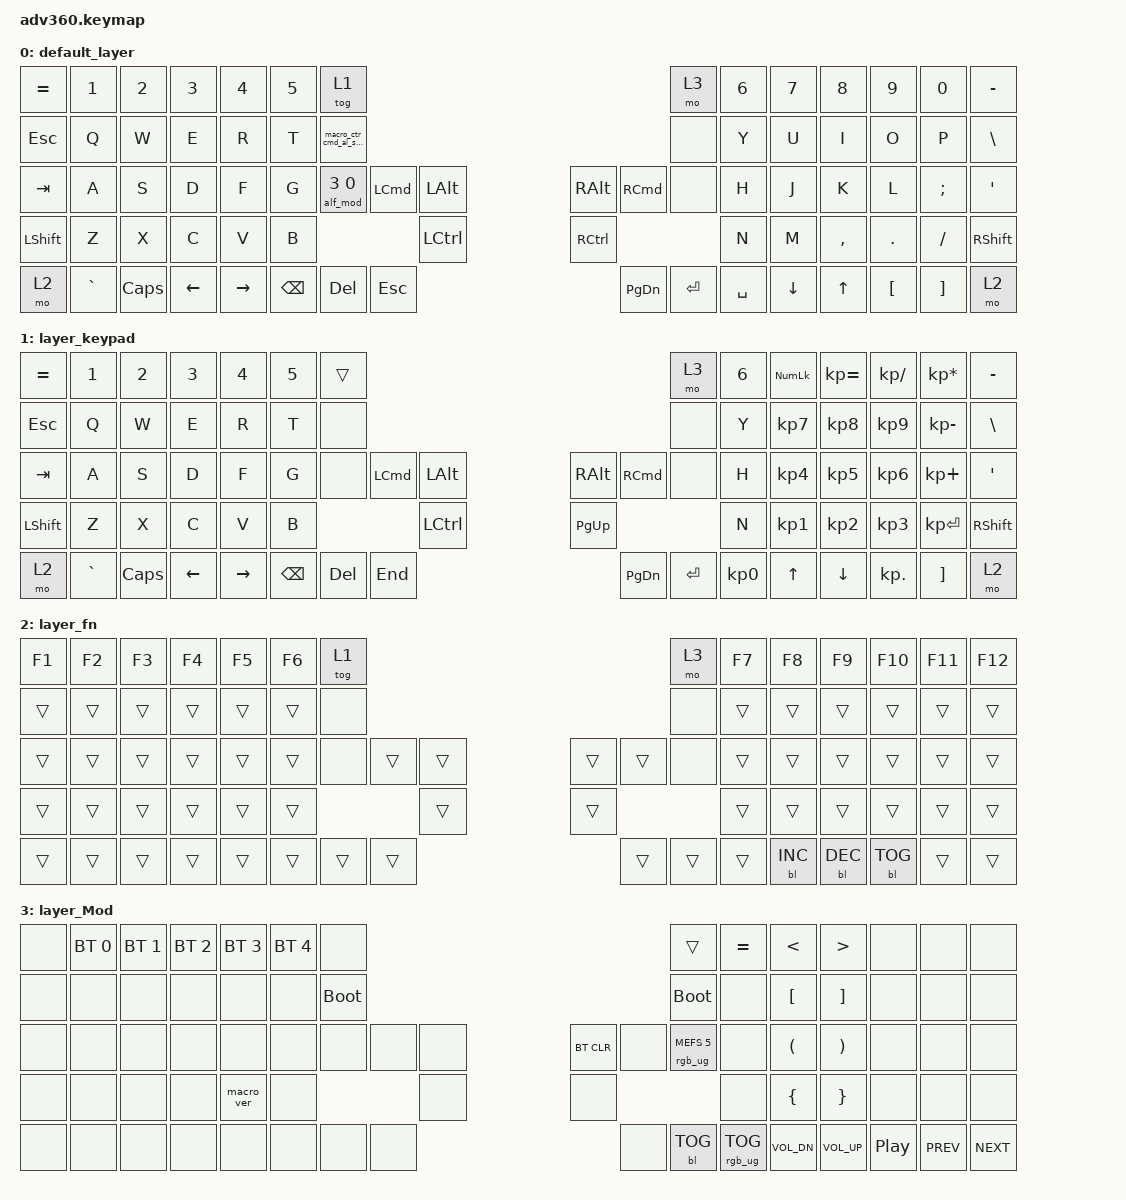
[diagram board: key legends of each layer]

/*
 * Copyright (c) 2020 The ZMK Contributors
 *
 * SPDX-License-Identifier: MIT
 */


/* THIS FILE WAS GENERATED!
 *
 * This file was generated automatically. You may or may not want to
 * edit it directly.
 */

#include <behaviors.dtsi>
#include <dt-bindings/zmk/keys.h>
#include <dt-bindings/zmk/backlight.h>
#include <dt-bindings/zmk/bt.h>
#include <dt-bindings/zmk/rgb.h>

/ {
  behaviors {
    #include "macros.dtsi"
    #include "version.dtsi"

    hm: homerow_mods {
        compatible = "zmk,behavior-hold-tap";
        label = "HOMEROW_MODS";
        #binding-cells = <2>;
        tapping-term-ms = <200>;
        quick_tap_ms = <175>;
        flavor = "tap-preferred";
        bindings = <&kp>, <&kp>;
    };
  };

    keymap {
        compatible = "zmk,keymap";


        default_layer {
            bindings = <
 &kp EQUAL     &kp N1    &kp N2    &kp N3     &kp N4  &kp N5                            &tog 1                                                                                     &mo 3  &kp N6    &kp N7     &kp N8    &kp N9    &kp N0  &kp MINUS
   &kp ESC      &kp Q     &kp W     &kp E      &kp R   &kp T            &macro_ctr_cmd_al_sh_t                                                                                     &none   &kp Y     &kp U      &kp I     &kp O     &kp P   &kp BSLH
   &kp TAB      &kp A     &kp S     &kp D      &kp F   &kp G                      &alf_mod 3 0  &kp LEFT_COMMAND   &kp LALT                  &kp RIGHT_ALT  &kp RIGHT_COMMAND      &none   &kp H     &kp J      &kp K     &kp L  &kp SEMI    &kp SQT
 &kp LSHFT      &kp Z     &kp X     &kp C      &kp V   &kp B                                                      &kp LCTRL                      &kp RCTRL                                 &kp N     &kp M  &kp COMMA   &kp DOT  &kp FSLH  &kp RSHFT
     &mo 2  &kp GRAVE  &kp CAPS  &kp LEFT  &kp RIGHT                                  &kp BSPC           &kp DEL    &kp ESC                      &kp PG_DN          &kp ENTER  &kp SPACE          &kp DOWN     &kp UP  &kp LBKT  &kp RBKT      &mo 2
            >;
        };

        layer_keypad {
            bindings = <
 &kp EQUAL     &kp N1    &kp N2    &kp N3     &kp N4  &kp N5              &trans                                                                                     &mo 3  &kp N6  &kp KP_NUM  &kp KP_EQUAL  &kp KP_DIVIDE  &kp KP_MULTIPLY  &kp MINUS
   &kp ESC      &kp Q     &kp W     &kp E      &kp R   &kp T               &none                                                                                     &none   &kp Y   &kp KP_N7     &kp KP_N8      &kp KP_N9     &kp KP_MINUS   &kp BSLH
   &kp TAB      &kp A     &kp S     &kp D      &kp F   &kp G               &none  &kp LEFT_COMMAND   &kp LALT                  &kp RIGHT_ALT  &kp RIGHT_COMMAND      &none   &kp H   &kp KP_N4     &kp KP_N5      &kp KP_N6      &kp KP_PLUS    &kp SQT
 &kp LSHFT      &kp Z     &kp X     &kp C      &kp V   &kp B                                        &kp LCTRL                      &kp PG_UP                                 &kp N   &kp KP_N1     &kp KP_N2      &kp KP_N3     &kp KP_ENTER  &kp RSHFT
     &mo 2  &kp GRAVE  &kp CAPS  &kp LEFT  &kp RIGHT                    &kp BSPC           &kp DEL    &kp END                      &kp PG_DN          &kp ENTER  &kp KP_N0              &kp UP      &kp DOWN     &kp KP_DOT         &kp RBKT      &mo 2
            >;
        };

        layer_fn {
            bindings = <
 &kp F1  &kp F2  &kp F3  &kp F4  &kp F5  &kp F6            &tog 1                                                   &mo 3  &kp F7      &kp F8      &kp F9     &kp F10  &kp F11  &kp F12
 &trans  &trans  &trans  &trans  &trans  &trans             &none                                                   &none  &trans      &trans      &trans      &trans   &trans   &trans
 &trans  &trans  &trans  &trans  &trans  &trans             &none  &trans  &trans                  &trans  &trans   &none  &trans      &trans      &trans      &trans   &trans   &trans
 &trans  &trans  &trans  &trans  &trans  &trans                            &trans                  &trans                  &trans      &trans      &trans      &trans   &trans   &trans
 &trans  &trans  &trans  &trans  &trans                    &trans  &trans  &trans                  &trans  &trans  &trans          &bl BL_INC  &bl BL_DEC  &bl BL_TOG   &trans   &trans
            >;
        };

        layer_Mod {
            bindings = <
  &none  &bt BT_SEL 0  &bt BT_SEL 1  &bt BT_SEL 2  &bt BT_SEL 3  &bt BT_SEL 4                  &none                                                                          &trans  &kp EQUAL         &kp LESS_THAN       &kp GREATER_THAN     &none       &none       &none
  &none         &none         &none         &none         &none         &none            &bootloader                                                                     &bootloader      &none      &kp LEFT_BRACKET      &kp RIGHT_BRACKET     &none       &none       &none
  &none         &none         &none         &none         &none         &none                  &none   &none   &none                  &bt BT_CLR       &none  &rgb_ug RGB_MEFS_CMD 5      &none  &kp LEFT_PARENTHESIS  &kp RIGHT_PARENTHESIS     &none       &none       &none
  &none         &none         &none         &none    &macro_ver         &none                                  &none                       &none                                          &none        &kp LEFT_BRACE        &kp RIGHT_BRACE     &none       &none       &none
  &none         &none         &none         &none         &none                                &none   &none   &none                       &none  &bl BL_TOG         &rgb_ug RGB_TOG                     &kp C_VOL_DN           &kp C_VOL_UP  &kp C_PP  &kp C_PREV  &kp C_NEXT
            >;
        };

    };
};
